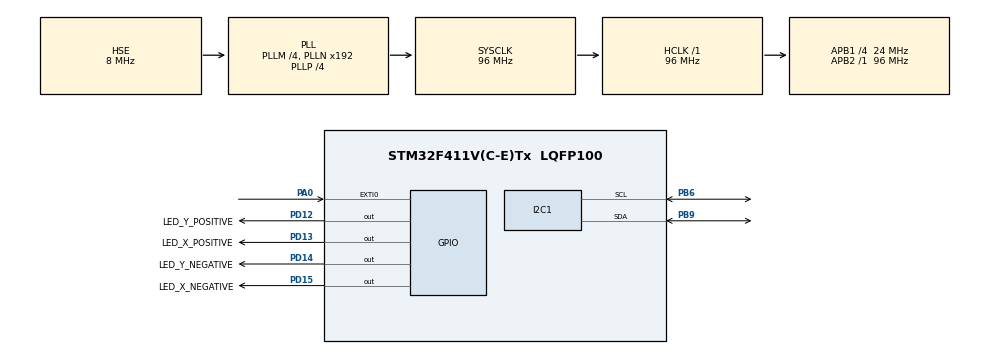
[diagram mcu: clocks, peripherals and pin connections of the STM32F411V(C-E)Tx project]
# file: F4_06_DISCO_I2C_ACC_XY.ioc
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I2C1.I2C_Mode=I2C_Fast
Mcu.Family=STM32F4
Mcu.Name=STM32F411V(C-E)Tx
Mcu.Package=LQFP100
NVIC.PriorityGroup=NVIC_PRIORITYGROUP_0
PA0-WKUP.GPIO_ModeDefaultEXTI=GPIO_MODE_EVT_RISING
PA0-WKUP.Signal=GPXTI0
PA13.GPIO_Label=SWDIO
PA13.Mode=Serial_Wire
PA13.Signal=SYS_JTMS-SWDIO
PA14.GPIO_Label=SWCLK
PA14.Mode=Serial_Wire
PA14.Signal=SYS_JTCK-SWCLK
PB3.GPIO_Label=SWO
PB3.Signal=SYS_JTDO-SWO
PB6.Mode=I2C
PB6.Signal=I2C1_SCL
PB9.Mode=I2C
PB9.Signal=I2C1_SDA
PD12.GPIO_Label=LED_Y_POSITIVE
PD12.GPIO_PuPd=GPIO_NOPULL
PD12.Signal=GPIO_Output
PD13.GPIO_Label=LED_X_POSITIVE
PD13.GPIO_ModeDefaultOutputPP=GPIO_MODE_OUTPUT_PP
PD13.GPIO_PuPd=GPIO_NOPULL
PD13.Signal=GPIO_Output
PD14.GPIO_Label=LED_Y_NEGATIVE
PD14.GPIO_PuPd=GPIO_NOPULL
PD14.Signal=GPIO_Output
PD15.GPIO_Label=LED_X_NEGATIVE
PD15.GPIO_PuPd=GPIO_NOPULL
PD15.Signal=GPIO_Output
PH0\ -\ OSC_IN.GPIO_Label=PH0-OSC_IN
PH0\ -\ OSC_IN.Mode=HSE-External-Oscillator
PH0\ -\ OSC_IN.Signal=RCC_OSC_IN
PH1\ -\ OSC_OUT.GPIO_Label=PH1-OSC_OUT
PH1\ -\ OSC_OUT.Mode=HSE-External-Oscillator
PH1\ -\ OSC_OUT.Signal=RCC_OSC_OUT
ProjectManager.HeapSize=0x200
ProjectManager.StackSize=0x400
ProjectManager.TargetToolchain=STM32CubeIDE
RCC.48MHZClocksFreq_Value=48000000
RCC.AHBFreq_Value=96000000
RCC.APB1CLKDivider=RCC_HCLK_DIV4
RCC.APB1Freq_Value=24000000
RCC.APB1TimFreq_Value=48000000
RCC.APB2Freq_Value=96000000
RCC.APB2TimFreq_Value=96000000
RCC.CortexFreq_Value=96000000
RCC.HCLKFreq_Value=96000000
RCC.HSE_VALUE=8000000
RCC.HSI_VALUE=16000000
RCC.LSE_VALUE=32768
RCC.PLLI2SM=5
RCC.PLLI2SN=200
RCC.PLLM=4
RCC.PLLP=RCC_PLLP_DIV4
RCC.PLLQ=8
RCC.PLLSourceVirtual=RCC_PLLSOURCE_HSE
RCC.SYSCLKFreq_VALUE=96000000
RCC.SYSCLKSource=RCC_SYSCLKSOURCE_PLLCLK
RCC.VCOOutputFreq_Value=384000000
board=STM32F411E-DISCO

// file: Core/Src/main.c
/* USER CODE BEGIN Header */
/**
  ******************************************************************************
  * @file           : main.c
  * @brief          : Main program body
  ******************************************************************************
  * @attention
  *
  * Copyright (c) 2023 STMicroelectronics.
  * All rights reserved.
  *
  * This software is licensed under terms that can be found in the LICENSE file
  * in the root directory of this software component.
  * If no LICENSE file comes with this software, it is provided AS-IS.
  *
  ******************************************************************************
  */
/* USER CODE END Header */
#include "main.h"
#include "i2c.h"
#include "gpio.h"

/* USER CODE BEGIN Includes */
#include <limits.h>
/* USER CODE END Includes */

/* USER CODE BEGIN PD */
#define AXES 2							// the number of axes (1 - X, 2 - XY, 3 - XYZ)
#define LSM303_ACC_ADRESS (0x19 << 1)	// adres akcelerometru: 0011 001x
#define LSM303_ACC_CTRL_REG1_A 0x20		// rejestr ustawien 1
#define LSM303_ACC_OUT_X_L_A 0x28		// 0010 1000
#define LSM303_ACC_XY_L_A_MULTI_READ (LSM303_ACC_OUT_X_L_A | 0x80)

// CTRL_REG1_A = [ODR3][ODR2][ODR1][ODR0][LPEN][ZEN][YEN][XEN]
#define LSM303_ACC_YX_ENABLE 0x03		// 0000 0011
#define LSM303_ACC_100HZ 0x50			// 0101 0000

#define LSM303_ACC_RESOLUTION 2.0		// Maksymalna wartosc przyspieszenia [g]

#define PITCH 1200
#define ROLL 1200
/* USER CODE END PD */

/* USER CODE BEGIN PV */
uint8_t Settings = LSM303_ACC_YX_ENABLE | LSM303_ACC_100HZ;
uint8_t Data[AXES * 2];
int16_t Axes[AXES];
float Axes_g[AXES];
int i, j;
/* USER CODE END PV */

void SystemClock_Config(void);

int main(void)
{

  /* MCU Configuration--------------------------------------------------------*/

  /* Reset of all peripherals, Initializes the Flash interface and the Systick. */
  HAL_Init();

  /* Configure the system clock */
  SystemClock_Config();

  /* Initialize all configured peripherals */
  MX_GPIO_Init();
  MX_I2C1_Init();
  /* USER CODE BEGIN 2 */
  HAL_I2C_Mem_Write(&hi2c1, LSM303_ACC_ADRESS, LSM303_ACC_CTRL_REG1_A, 1, &Settings, 1, 100);
  /* USER CODE END 2 */

  /* Infinite loop */
  /* USER CODE BEGIN WHILE */
  while (1)
  {
	  HAL_I2C_Mem_Read(&hi2c1, LSM303_ACC_ADRESS, LSM303_ACC_XY_L_A_MULTI_READ, 1, Data, AXES * 2, 100);
	  for (i = 0; i < AXES; i++)	// 0 - X, 1 - Y, 2 - Z
	  {
		  j = i * 2;
		  Axes[i] = (Data[j + 1] << 8 | Data[j]);
		  Axes_g[i] = ((float) Axes[i] * LSM303_ACC_RESOLUTION) / (float) INT16_MAX;
	  }

	  if (Axes[0] > PITCH)
	  {
		  HAL_GPIO_WritePin(LED_X_NEGATIVE_GPIO_Port, LED_X_NEGATIVE_Pin, GPIO_PIN_SET);
		  HAL_GPIO_WritePin(LED_X_POSITIVE_GPIO_Port, LED_X_POSITIVE_Pin, GPIO_PIN_RESET);
	  }
	  else if ( Axes[0] < (int16_t) (PITCH * -1) )
	  {
		  HAL_GPIO_WritePin(LED_X_POSITIVE_GPIO_Port, LED_X_POSITIVE_Pin, GPIO_PIN_SET);
		  HAL_GPIO_WritePin(LED_X_NEGATIVE_GPIO_Port, LED_X_NEGATIVE_Pin, GPIO_PIN_RESET);
	  }
	  else
	  {
		  HAL_GPIO_WritePin(LED_X_POSITIVE_GPIO_Port, LED_X_POSITIVE_Pin, GPIO_PIN_RESET);
		  HAL_GPIO_WritePin(LED_X_NEGATIVE_GPIO_Port, LED_X_NEGATIVE_Pin, GPIO_PIN_RESET);
	  }

	  if (Axes[1] > ROLL)
	  {
		  HAL_GPIO_WritePin(LED_Y_NEGATIVE_GPIO_Port, LED_Y_NEGATIVE_Pin, GPIO_PIN_SET);
		  HAL_GPIO_WritePin(LED_Y_POSITIVE_GPIO_Port, LED_Y_POSITIVE_Pin, GPIO_PIN_RESET);
	  }
	  else if ( Axes[1] < (int16_t) (ROLL * -1) )
	  {
		  HAL_GPIO_WritePin(LED_Y_POSITIVE_GPIO_Port, LED_Y_POSITIVE_Pin, GPIO_PIN_SET);
		  HAL_GPIO_WritePin(LED_Y_NEGATIVE_GPIO_Port, LED_Y_NEGATIVE_Pin, GPIO_PIN_RESET);
	  }
	  else
	  {
		  HAL_GPIO_WritePin(LED_Y_POSITIVE_GPIO_Port, LED_Y_POSITIVE_Pin, GPIO_PIN_RESET);
		  HAL_GPIO_WritePin(LED_Y_NEGATIVE_GPIO_Port, LED_Y_NEGATIVE_Pin, GPIO_PIN_RESET);
	  }

    /* USER CODE END WHILE */

  }
}

void SystemClock_Config(void)
{
  RCC_OscInitTypeDef RCC_OscInitStruct = {0};
  RCC_ClkInitTypeDef RCC_ClkInitStruct = {0};

  /** Configure the main internal regulator output voltage
  */
  __HAL_RCC_PWR_CLK_ENABLE();
  __HAL_PWR_VOLTAGESCALING_CONFIG(PWR_REGULATOR_VOLTAGE_SCALE1);

  /** Initializes the RCC Oscillators according to the specified parameters
  * in the RCC_OscInitTypeDef structure.
  */
  RCC_OscInitStruct.OscillatorType = RCC_OSCILLATORTYPE_HSE;
  RCC_OscInitStruct.HSEState = RCC_HSE_ON;
  RCC_OscInitStruct.PLL.PLLState = RCC_PLL_ON;
  RCC_OscInitStruct.PLL.PLLSource = RCC_PLLSOURCE_HSE;
  RCC_OscInitStruct.PLL.PLLM = 4;
  RCC_OscInitStruct.PLL.PLLN = 192;
  RCC_OscInitStruct.PLL.PLLP = RCC_PLLP_DIV4;
  RCC_OscInitStruct.PLL.PLLQ = 8;
  if (HAL_RCC_OscConfig(&RCC_OscInitStruct) != HAL_OK)
  {
    Error_Handler();
  }

  /** Initializes the CPU, AHB and APB buses clocks
  */
  RCC_ClkInitStruct.ClockType = RCC_CLOCKTYPE_HCLK|RCC_CLOCKTYPE_SYSCLK
                              |RCC_CLOCKTYPE_PCLK1|RCC_CLOCKTYPE_PCLK2;
  RCC_ClkInitStruct.SYSCLKSource = RCC_SYSCLKSOURCE_PLLCLK;
  RCC_ClkInitStruct.AHBCLKDivider = RCC_SYSCLK_DIV1;
  RCC_ClkInitStruct.APB1CLKDivider = RCC_HCLK_DIV4;
  RCC_ClkInitStruct.APB2CLKDivider = RCC_HCLK_DIV1;

  if (HAL_RCC_ClockConfig(&RCC_ClkInitStruct, FLASH_LATENCY_3) != HAL_OK)
  {
    Error_Handler();
  }
}

void Error_Handler(void)
{
  __disable_irq();
  while (1)
  {
  }
}
